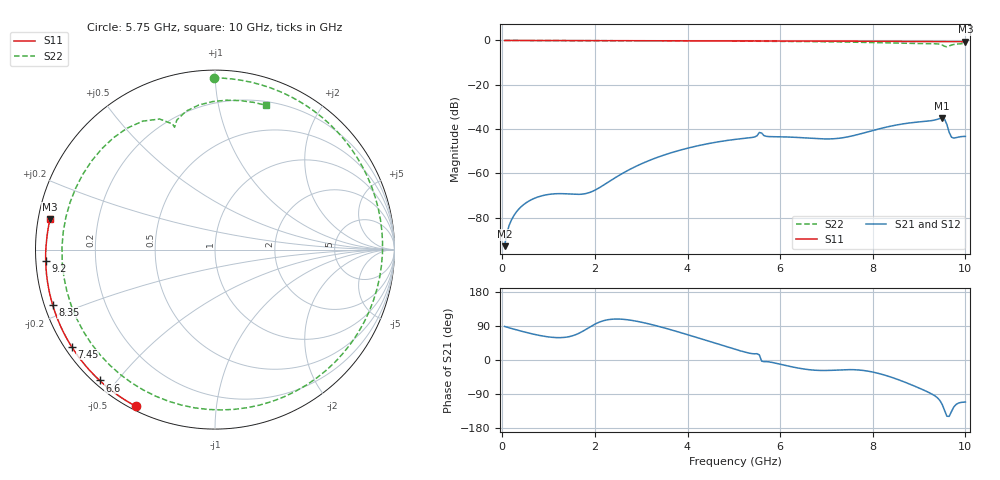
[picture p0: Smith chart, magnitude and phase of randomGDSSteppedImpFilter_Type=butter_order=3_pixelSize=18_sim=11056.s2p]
! freq	dB(S11)	phase(S11)	dB(S12)	phase(S12)
!  dB(S21)	phase(S21)	dB(S22)	phase(S22)
!S-par simulation data
#  GHz  S  DB  R 50
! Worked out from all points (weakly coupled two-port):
!   200 points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, 50 MHz to 10 GHz, reference 50 ohm
!   highest |S21| = -34.97 dB at 9.5 GHz (marker M1); lowest = -92.9 dB at 50 MHz (marker M2)
!   lowest |S11| = -0.6 dB at 10 GHz (marker M3), VSWR 29.66, Z = 1.7 + j4.55 ohm
!   |S11| at or under -10 dB: nowhere
!   |S22| runs from -2.9 to 0.0 dB; largest |S21 - S12| = 0
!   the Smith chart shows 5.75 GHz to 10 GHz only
!   S11 on the Smith chart (normalised r, x): 5.75 GHz: 0.02, -0.62; 6.6 GHz: 0.02, -0.45; 7.45 GHz: 0.02, -0.31; 8.35 GHz: 0.02, -0.17; 9.2 GHz: 0.03, -0.03; 10 GHz: 0.03, +0.09
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0.05  -0.00 -1.1  -92.88 88.6  -92.88 88.6  -0.00 -2.4
0.2  -0.01 -4.5  -80.93 83.1  -80.93 83.1  -0.01 -9.5
0.8  -0.02 -18.0  -70.46 64.9  -70.46 64.9  -0.05 -37.5
1.75  -0.05 -38.8  -69.32 76.7  -69.32 76.7  -0.10 -80.5
2.55  -0.07 -55.8  -60.57 107.9  -60.57 107.9  -0.14 -115.1
3.4  -0.10 -73.0  -52.40 88.0  -52.40 88.0  -0.18 -151.5
4.25  -0.12 -89.4  -47.42 57.5  -47.42 57.5  -0.24 170.5
5.05  -0.16 -104.2  -44.62 27.4  -44.62 27.4  -0.31 130.6
5.55  -0.20 -113.3  -41.55 13.5  -41.55 13.5  -0.37 102.5
5.75  -0.20 -116.7  -43.39 -4.8  -43.39 -4.8  -0.38 90.5
6.15  -0.22 -123.7  -43.58 -15.3  -43.58 -15.3  -0.43 64.6
6.6  -0.25 -131.4  -44.09 -25.2  -44.09 -25.2  -0.51 32.9
6.7  -0.25 -133.1  -44.23 -26.5  -44.23 -26.5  -0.52 25.5
7.1  -0.28 -140.0  -44.43 -27.3  -44.43 -27.3  -0.61 -5.5
7.45  -0.31 -145.9  -43.57 -25.5  -43.57 -25.5  -0.72 -34.3
7.95  -0.36 -154.4  -40.94 -30.6  -40.94 -30.6  -0.93 -78.5
8.35  -0.40 -161.3  -38.86 -43.4  -38.86 -43.4  -1.13 -116.9
8.8  -0.44 -169.0  -37.23 -63.7  -37.23 -63.7  -1.34 -164.2
9.2  -0.49 -176.0  -36.38 -85.1  -36.38 -85.1  -1.44 150.3
9.5  -0.53 178.6  -34.97 -117.5  -34.97 -117.5  -2.04 113.0
9.7  -0.55 175.1  -43.67 -135.9  -43.67 -135.9  -2.07 101.8
10  -0.59 169.6  -43.32 -111.0  -43.32 -111.0  -1.38 70.4
